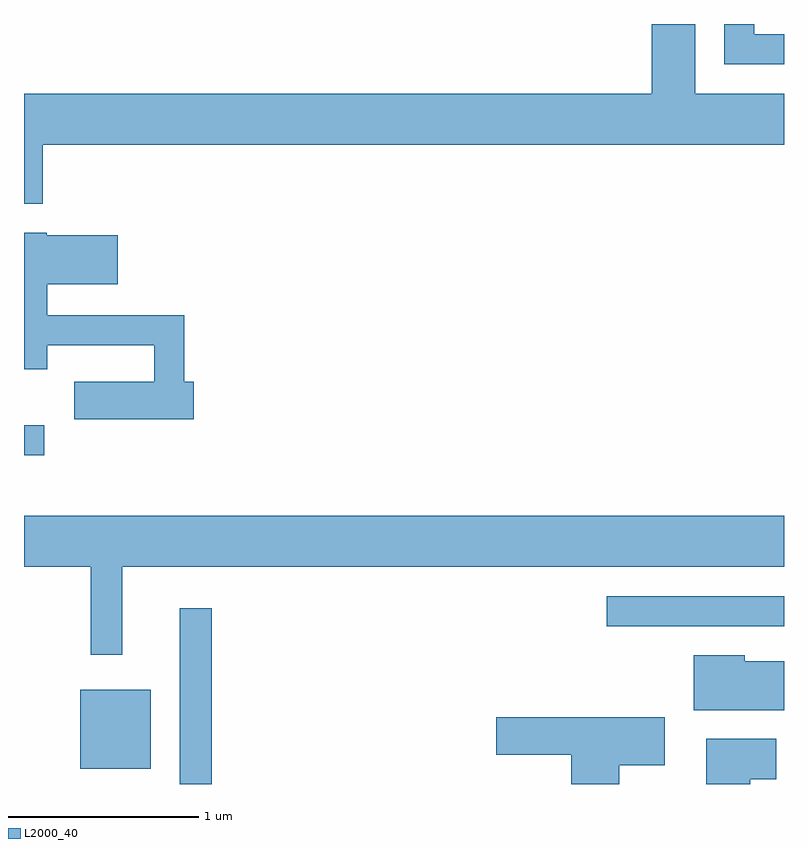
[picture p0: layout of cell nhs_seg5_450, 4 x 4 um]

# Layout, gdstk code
import gdstk
lib = gdstk.Library(unit=1e-6, precision=1e-09)
def R(c, l, rs):  # rectangles x0, y0, x1, y1
    for r in rs: c.add(gdstk.rectangle(r[:2], r[2:], *l))
def P(c, l, *ps):  # polygons
    for p in ps: c.add(gdstk.Polygon(p, *l))
L2000_40 = (2000, 40)

nhs_seg5_450 = lib.new_cell('nhs_seg5_450')
R(nhs_seg5_450, L2000_40, [(198.431,1480.072,198.599,1480.998), (197.906,1480.151,198.279,1480.569), (200.678,1480.901,201.611,1481.059), (197.611,1481.801,197.718,1481.959)])
P(nhs_seg5_450, L2000_40, [(197.709,1483.436),(201.611,1483.436),(201.611,1483.704),(201.144,1483.704),(201.144,1484.072),(200.916,1484.072),(200.916,1483.704),(197.611,1483.704),(197.611,1483.126),(197.709,1483.126)],
  [(201.611,1484.019),(201.454,1484.019),(201.454,1484.072),(201.296,1484.072),(201.296,1483.861),(201.611,1483.861)],
  [(198.504,1482.189),(198.454,1482.189),(198.454,1482.539),(197.734,1482.539),(197.734,1482.701),(198.104,1482.701),(198.104,1482.959),(197.73,1482.959),(197.73,1482.974),(197.611,1482.974),(197.611,1482.256),(197.734,1482.256),(197.734,1482.381),(198.296,1482.381),(198.296,1482.189),(197.876,1482.189),(197.876,1481.991),(198.504,1481.991)],
  [(198.129,1481.216),(201.611,1481.216),(201.611,1481.484),(197.611,1481.484),(197.611,1481.216),(197.961,1481.216),(197.961,1480.753),(198.129,1480.753)],
  [(201.611,1480.719),(201.404,1480.719),(201.404,1480.749),(201.136,1480.749),(201.136,1480.461),(201.611,1480.461)],
  [(200.744,1480.171),(200.984,1480.171),(200.984,1480.424),(200.096,1480.424),(200.096,1480.226),(200.491,1480.226),(200.491,1480.072),(200.744,1480.072)],
  [(201.434,1480.096),(201.569,1480.096),(201.569,1480.309),(201.201,1480.309),(201.201,1480.072),(201.434,1480.072)])

lib.write_gds('nhs_seg5_450.gds')
